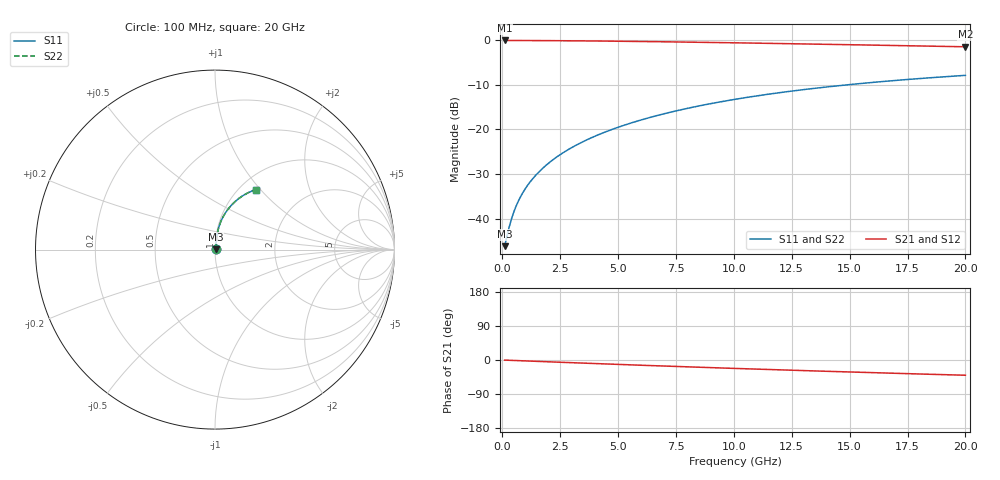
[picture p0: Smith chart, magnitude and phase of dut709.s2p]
! Touchstone file exported from HFSS 2024.1.0
!  File:  C:/UserFiles/LocalFiles/RDL_TSV_Batchsim/temp_RDL_top_709_1779850120.aedt
!  Generated:  10:50:56 AM May 27, 2026
!  Design:  RDL_top
!  Project:  temp_RDL_top_709_1779850120
!  Setup:  Setup1
!  Solution:  Sweep
! Variables:
!  dtsv = 10.80580581um
!  hbump = 3um
!  htsv = 79.52um
!  ldown = 100um
!  lrdl = 515.89um
!  p = 40
!  p1 = 55um
!  rhole = 1um
!  t = 450um
!  tdown = 3.915915916um
!  trdl = 2.16um
!  wdown = 15.38538539um
!  wrdl = 20.78um
# GHz S MA R 50.000000
! Terminal data exported
! Port[1] = Box2_T1
! Port[2] = Box2_T2
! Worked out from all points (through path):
!   200 points, 100 MHz to 20 GHz, reference 50 ohm
!   highest |S21| = -0.04 dB at 100 MHz (marker M1); lowest = -1.5 dB at 20 GHz (marker M2)
!   group delay of S21, straight-line fit = 5.56 ps
!   lowest |S11| = -46.2 dB at 100 MHz (marker M3), VSWR 1.01, Z = 50.4 + j0.225 ohm
!   |S11| at or under -10 dB: start of sweep to 14.89 GHz
!   |S22| runs from -46.2 to -7.9 dB; largest |S21 - S12| = 3.1e-15
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0.1  0.004894 27.1  0.9956 -0.3  0.9956 -0.3  0.004894 27.1
! Gamma 0 0 0 0
! Port Impedance 50 0 50 0
0.3  0.008044 55.3  0.9954 -0.7  0.9954 -0.7  0.008044 55.3
0.4  0.009943 61.6  0.9952 -1.0  0.9952 -1.0  0.009943 61.6
0.5  0.01189 65.7  0.995 -1.2  0.995 -1.2  0.01189 65.7
0.6  0.01385 68.6  0.9948 -1.5  0.9948 -1.5  0.01385 68.6
0.7  0.01582 70.8  0.9945 -1.7  0.9945 -1.7  0.01582 70.8
0.9  0.01976 73.9  0.9941 -2.2  0.9941 -2.2  0.01976 73.9
1.2  0.0257 76.8  0.9934 -2.9  0.9934 -2.9  0.0257 76.8
1.4  0.02968 78.1  0.9929 -3.4  0.9929 -3.4  0.02969 78.1
1.7  0.03572 79.5  0.9921 -4.1  0.9921 -4.1  0.03572 79.5
2.2  0.04592 80.9  0.9905 -5.3  0.9905 -5.3  0.04592 80.9
2.8  0.05836 81.8  0.9881 -6.7  0.9881 -6.7  0.05836 81.8
3.5  0.07314 82.0  0.9849 -8.3  0.9849 -8.3  0.07315 82.1
4.2  0.08819 81.9  0.9811 -9.9  0.9811 -9.9  0.08819 81.9
5  0.1056 81.3  0.9762 -11.7  0.9762 -11.7  0.1057 81.3
6.8  0.1456 79.2  0.9635 -15.6  0.9635 -15.6  0.1456 79.2
8.4  0.1813 76.7  0.9509 -18.9  0.9509 -18.9  0.1813 76.7
10.1  0.2186 73.7  0.9365 -22.4  0.9365 -22.4  0.2186 73.7
11.7  0.2527 70.7  0.9224 -25.5  0.9224 -25.5  0.2527 70.7
13.4  0.2874 67.5  0.9069 -28.7  0.9069 -28.7  0.2874 67.5
16.7  0.3494 61.5  0.8762 -34.6  0.8762 -34.6  0.3495 61.5
20  0.404 55.8  0.8455 -40.2  0.8455 -40.2  0.4041 55.8
